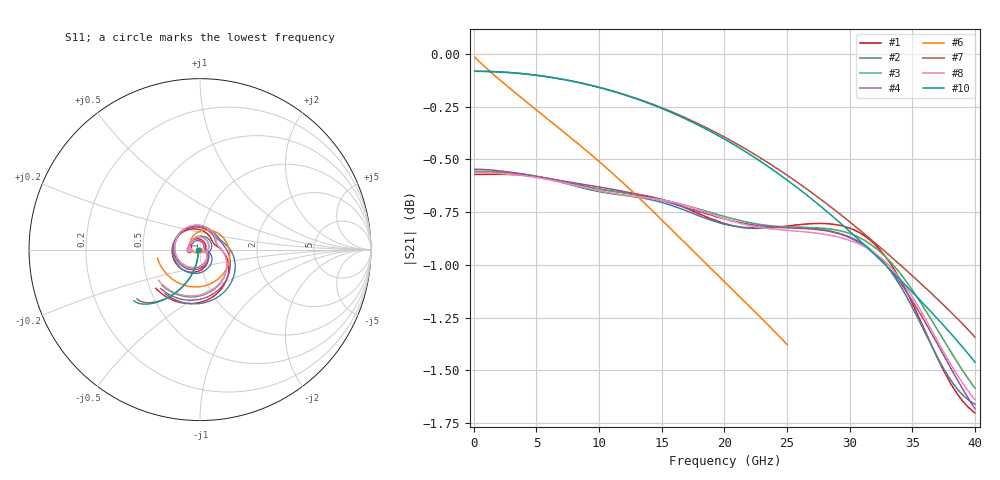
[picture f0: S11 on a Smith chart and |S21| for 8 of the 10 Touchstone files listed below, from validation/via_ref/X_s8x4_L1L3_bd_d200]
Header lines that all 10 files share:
# Hz S RI R 50
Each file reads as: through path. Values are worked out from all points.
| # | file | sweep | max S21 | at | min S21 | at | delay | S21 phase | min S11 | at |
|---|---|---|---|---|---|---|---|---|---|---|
| 1 | cst.s2p | 100 MHz to 40 GHz | -0.57 dB | 1.8 GHz | -1.7 dB | 40 GHz | 54.3 ps | -30 deg at 20.1 GHz | -36.1 dB | 13.5 GHz |
| 2 | cst_fine.s2p | 100 MHz to 40 GHz | -0.56 dB | 200 MHz | -1.7 dB | 40 GHz | 54.1 ps | -29 deg at 20.1 GHz | -25.6 dB | 13.5 GHz |
| 3 | kisi.s2p | 100 MHz to 40 GHz | -0.56 dB | 100 MHz | -1.6 dB | 40 GHz | 54.2 ps | -29 deg at 20.1 GHz | -34.1 dB | 14 GHz |
| 4 | kisi_base.s2p | 100 MHz to 40 GHz | -0.55 dB | 100 MHz | -1.7 dB | 40 GHz | 54.3 ps | -30 deg at 20.1 GHz | -32.0 dB | 12.6 GHz |
| 5 | kisi_deembedded.s2p | 100 MHz to 40 GHz | 0.00 dB | 4 GHz | -0.6 dB | 40 GHz | 2.83 ps | -18 deg at 20.1 GHz | -38.5 dB | 3.5 GHz |
| 6 | kisi_model.s2p | 100 MHz to 25 GHz | -0.02 dB | 100 MHz | -1.4 dB | 25 GHz | 51.8 ps | 123 deg at 12.6 GHz | -55.5 dB | 100 MHz |
| 7 | ladder.s2p | 100 MHz to 40 GHz | -0.08 dB | 100 MHz | -1.3 dB | 40 GHz | 2.75 ps | -19 deg at 20.1 GHz | -40.5 dB | 100 MHz |
| 8 | openems.s2p | 100 MHz to 40 GHz | -0.56 dB | 100 MHz | -1.6 dB | 40 GHz | 54.5 ps | -31 deg at 20.1 GHz | -34.7 dB | 14.1 GHz |
| 9 | openems_base.s2p | 100 MHz to 40 GHz | -0.56 dB | 100 MHz | -1.8 dB | 40 GHz | 54.5 ps | -31 deg at 20.1 GHz | -31.3 dB | 12.6 GHz |
| 10 | pbm.s2p | 100 MHz to 40 GHz | -0.08 dB | 100 MHz | -1.5 dB | 40 GHz | 1.81 ps | -12 deg at 20.1 GHz | -40.4 dB | 100 MHz |
